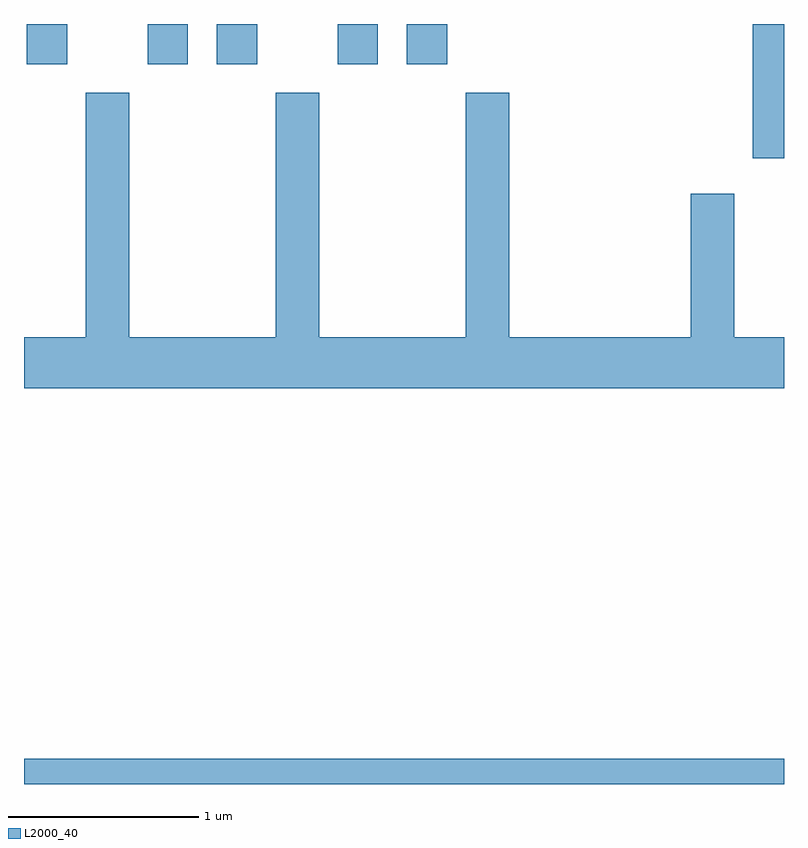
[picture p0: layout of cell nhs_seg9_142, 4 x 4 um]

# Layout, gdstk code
import gdstk
lib = gdstk.Library(unit=1e-6, precision=1e-09)
def R(c, l, rs):  # rectangles x0, y0, x1, y1
    for r in rs: c.add(gdstk.rectangle(r[:2], r[2:], *l))
def P(c, l, *ps):  # polygons
    for p in ps: c.add(gdstk.Polygon(p, *l))
L2000_40 = (2000, 40)

nhs_seg9_142 = lib.new_cell('nhs_seg9_142')
R(nhs_seg9_142, L2000_40, [(189.611,1956.432,193.611,1956.564), (193.446,1959.726,193.611,1960.432), (189.626,1960.221,189.839,1960.432), (190.261,1960.221,190.474,1960.432), (190.626,1960.221,190.839,1960.432), (191.261,1960.221,191.474,1960.432), (191.626,1960.221,191.839,1960.432)])
P(nhs_seg9_142, L2000_40, [(193.611,1958.784),(193.349,1958.784),(193.349,1959.539),(193.121,1959.539),(193.121,1958.784),(192.164,1958.784),(192.164,1960.069),(191.936,1960.069),(191.936,1958.784),(191.164,1958.784),(191.164,1960.069),(190.936,1960.069),(190.936,1958.784),(190.164,1958.784),(190.164,1960.069),(189.936,1960.069),(189.936,1958.784),(189.611,1958.784),(189.611,1958.516),(193.611,1958.516)])

lib.write_gds('nhs_seg9_142.gds')
